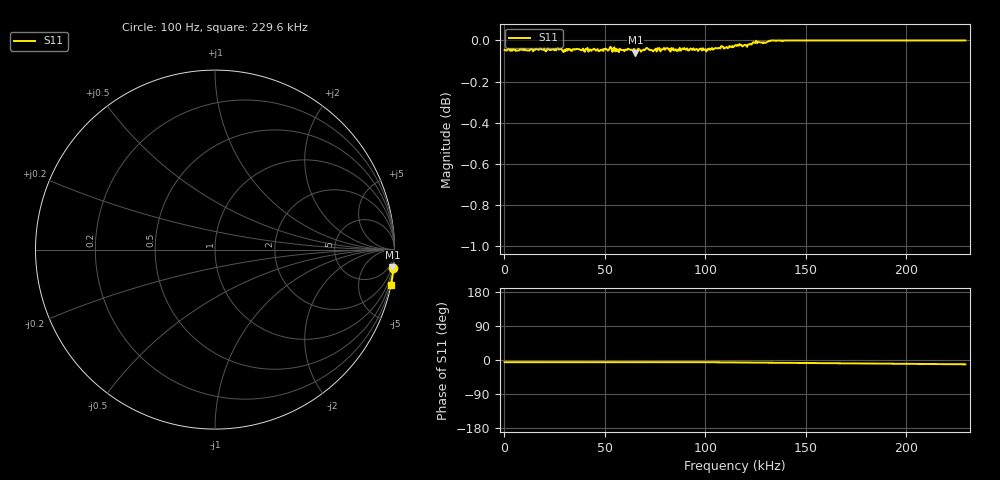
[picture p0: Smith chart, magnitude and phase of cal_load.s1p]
! Touchstone file generated by AntScope2 (calibration data)
# MHz S RI R 50
! Format: Frequency S-real S-imaginary (normalized to 50 Ohm)
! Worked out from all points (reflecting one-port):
!   501 points, 100 Hz to 229.6 kHz, reference 50 ohm
!   lowest |S11| = -0.1 dB at 65.28 kHz (marker M1), VSWR 288.80, Z = 70.2 - j1e+03 ohm
!   phase of S11 starts at -6 deg and turns -6 deg over the sweep
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0.0001  0.9896 -0.101
0.001477  0.9899 -0.0985
0.008821  0.9896 -0.1013
0.011575  0.9895 -0.0986
0.016624  0.9899 -0.1001
0.029017  0.9894 -0.0981
0.035443  0.9898 -0.102
0.057475  0.9904 -0.0992
0.060688  0.9896 -0.101
0.065278  0.9882 -0.0983
0.071245  0.9907 -0.0991
0.073081  0.9899 -0.0985
0.076294  0.9906 -0.1
0.086392  0.9899 -0.0998
0.100621  0.9888 -0.1
0.11485  0.9911 -0.1106
0.133669  0.9921 -0.1257
0.143767  0.9911 -0.133
0.172225  0.9881 -0.1541
0.186454  0.9865 -0.164
0.190585  0.9858 -0.168
0.195634  0.9851 -0.1718
0.201142  0.9846 -0.1749
0.204814  0.984 -0.1783
0.219502  0.9817 -0.1903
0.222256  0.9814 -0.1919
0.224551  0.9812 -0.1929
0.2296  0.9804 -0.1969
